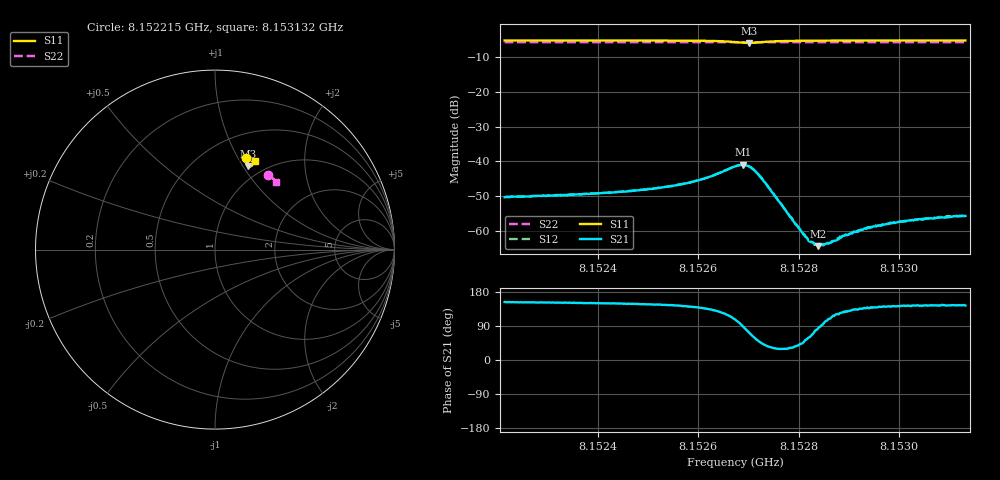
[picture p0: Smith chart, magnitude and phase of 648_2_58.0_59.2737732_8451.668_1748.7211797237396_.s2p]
#  HZ  S  RI  R  50.00
! Rohde & Schwarz Vector Network Analyzer
! Rohde-Schwarz,ZNB20-2Port,1311601062101988,3.16
! Created: UTC 3/21/2024, 1:19:20 AM
! freq[Hz]  re:S11  im:S11  re:S21  im:S21  re:S12  im:S12  re:S22  im:S22
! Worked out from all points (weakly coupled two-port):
!   401 points, 8.152215 GHz to 8.153132 GHz, reference 50 ohm
!   highest |S21| = -40.95 dB at 8.152689 GHz (marker M1); lowest = -64.3 dB at 8.152838 GHz (marker M2)
!   lowest |S11| = -6.0 dB at 8.152701 GHz (marker M3), VSWR 3.00, Z = 42.6 + j52.8 ohm
!   |S11| at or under -10 dB: nowhere
!   |S22| runs from -5.9 to -5.8 dB; largest |S21 - S12| = 0.00015
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8.152215e9  0.1718 0.5125  -0.00275 0.00139  -0.00274 0.00145  0.2975 0.4166
8.1523686e9  0.1833 0.5086  -0.00295 0.00166  -0.00293 0.00171  0.3055 0.4105
8.152458e9  0.1907 0.5057  -0.00316 0.00196  -0.00319 0.00201  0.3099 0.4068
8.1525221e9  0.1967 0.5025  -0.00347 0.00231  -0.00347 0.00239  0.3132 0.4043
8.1525977e9  0.2054 0.496  -0.00401 0.00346  -0.00399 0.00358  0.317 0.401
8.1526298e9  0.2096 0.4894  -0.00418 0.00468  -0.00417 0.00477  0.3184 0.3995
8.1526734e9  0.2074 0.4699  -0.00249 0.00814  -0.00241 0.00821  0.3201 0.3971
8.1526894e9  0.1962 0.4628  0.000201 0.00896  0.000277 0.00901  0.3204 0.3965
8.1527009e9  0.185 0.4643  0.00246 0.00816  0.00253 0.0082  0.3207 0.396
8.1527123e9  0.1769 0.4716  0.0039 0.00632  0.00399 0.00634  0.3209 0.3961
8.1527261e9  0.1746 0.4822  0.00409 0.00401  0.00421 0.00402  0.3216 0.396
8.1528086e9  0.1936 0.5003  0.000659 0.000662  0.000628 0.000657  0.3264 0.393
8.1528177e9  0.1949 0.5003  0.000427 0.000657  0.000444 0.000638  0.3269 0.3927
8.1528269e9  0.1966 0.5004  0.000269 0.000644  0.000246 0.000655  0.3275 0.3923
8.1528384e9  0.1983 0.5004  7.51e-05 0.000608  0.000104 0.000634  0.3279 0.3917
8.152859e9  0.2009 0.5  -0.000207 0.000635  -0.000188 0.000657  0.3291 0.3909
8.1528865e9  0.204 0.4996  -0.000491 0.000697  -0.000491 0.000675  0.3303 0.3898
8.152914e9  0.2069 0.4988  -0.000676 0.000702  -0.000667 0.000697  0.3318 0.3886
8.1529392e9  0.2093 0.4983  -0.000826 0.00078  -0.000832 0.000778  0.333 0.3875
8.1529804e9  0.2128 0.4972  -0.00101 0.000803  -0.001 0.000836  0.335 0.3856
8.1530561e9  0.2189 0.495  -0.00123 0.000915  -0.00122 0.000911  0.3386 0.3823
8.1531317e9  0.2243 0.4929  -0.00134 0.000984  -0.00139 0.001  0.3421 0.3791
